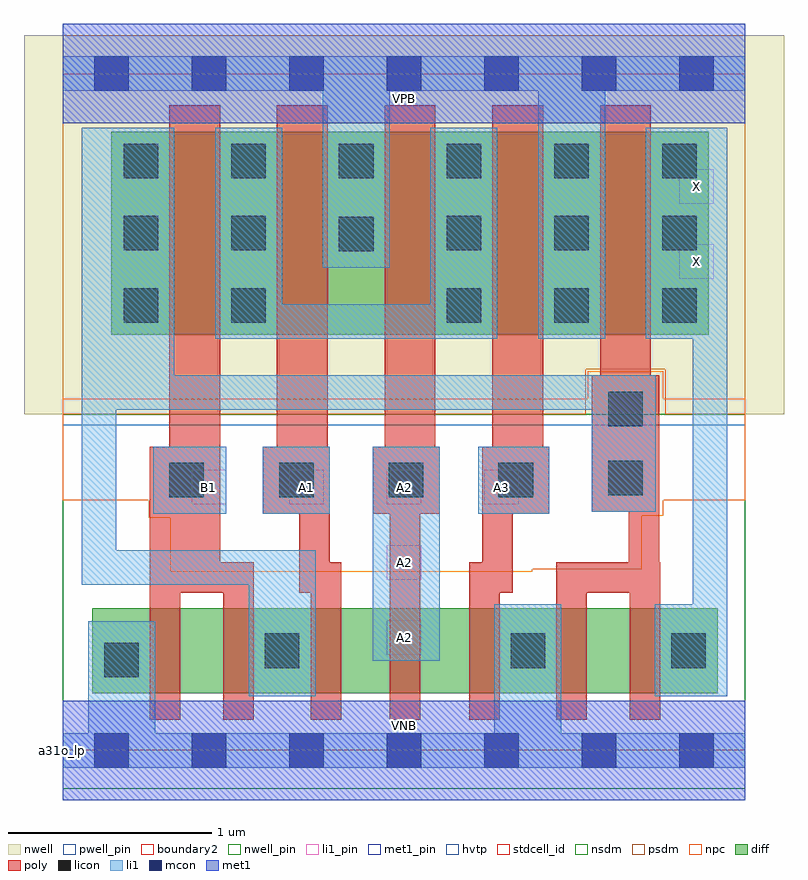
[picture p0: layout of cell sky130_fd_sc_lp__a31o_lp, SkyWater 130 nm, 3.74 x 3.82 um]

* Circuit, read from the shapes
.subckt sky130_fd_sc_lp__a31o_lp A1 A2 A3 B1 VGND VNB VPB VPWR X
XM1 n1 B1 VGND VNB sky130_fd_pr__nfet_01v8 w=0.42 l=0.15
XM2 n2 B1 n1 VNB sky130_fd_pr__nfet_01v8 w=0.42 l=0.15
XM3 n3 A1 n2 VNB sky130_fd_pr__nfet_01v8 w=0.42 l=0.15
XM4 n4 A2 n3 VNB sky130_fd_pr__nfet_01v8 w=0.42 l=0.15
XM5 VGND A3 n4 VNB sky130_fd_pr__nfet_01v8 w=0.42 l=0.15
XM6 n5 n2 VGND VNB sky130_fd_pr__nfet_01v8 w=0.42 l=0.15
XM7 X n2 n5 VNB sky130_fd_pr__nfet_01v8 w=0.42 l=0.15
XM8 n6 B1 n2 VPB sky130_fd_pr__pfet_01v8_hvt w=1 l=0.25
XM9 VPWR A1 n6 VPB sky130_fd_pr__pfet_01v8_hvt w=1 l=0.25
XM10 n6 A2 VPWR VPB sky130_fd_pr__pfet_01v8_hvt w=1 l=0.25
XM11 VPWR A3 n6 VPB sky130_fd_pr__pfet_01v8_hvt w=1 l=0.25
XM12 X n2 VPWR VPB sky130_fd_pr__pfet_01v8_hvt w=1 l=0.25
.ends

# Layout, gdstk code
import gdstk
lib = gdstk.Library(unit=1e-6, precision=1e-09)
def R(c, l, rs):  # rectangles x0, y0, x1, y1
    for r in rs: c.add(gdstk.rectangle(r[:2], r[2:], *l))
def A(c, l, x, y, w, h, nx, ny, dx, dy):  # array of equal rectangles
    R(c, l, [(x+i*dx, y+j*dy, x+i*dx+w, y+j*dy+h) for i in range(nx) for j in range(ny)])
def P(c, l, *ps):  # polygons
    for p in ps: c.add(gdstk.Polygon(p, *l))
nwell_pin = (64, 16)
nwell = (64, 20)
diff = (65, 20)
poly = (66, 20)
licon = (66, 44)
li1_pin = (67, 16)
li1 = (67, 20)
mcon = (67, 44)
met1_pin = (68, 16)
met1 = (68, 20)
hvtp = (78, 44)
stdcell_id = (81, 4)
nsdm = (93, 44)
psdm = (94, 20)
npc = (95, 20)
pwell_pin = (122, 16)
boundary2 = (236, 0)

sky130_fd_sc_lp__a31o_lp = lib.new_cell('sky130_fd_sc_lp__a31o_lp')
R(sky130_fd_sc_lp__a31o_lp, nwell_pin, [(0,3.085,3.36,3.33)])
R(sky130_fd_sc_lp__a31o_lp, nwell, [(-0.19,1.655,3.55,3.52)])
R(sky130_fd_sc_lp__a31o_lp, diff, [(0.145,0.28,3.225,0.7), (0.24,2.045,3.18,3.045)])
P(sky130_fd_sc_lp__a31o_lp, poly, [(0.94,0.925),(0.775,0.925),(0.775,3.175),(0.525,3.175),(0.525,1.495),(0.43,1.495),(0.43,0.15),(0.58,0.15),(0.58,0.775),(0.79,0.775),(0.79,0.15),(0.94,0.15)],
  [(1.37,0.925),(1.315,0.925),(1.315,1.495),(1.305,1.495),(1.305,3.175),(1.055,3.175),(1.055,1.495),(0.985,1.495),(0.985,1.165),(1.165,1.165),(1.165,0.775),(1.22,0.775),(1.22,0.15),(1.37,0.15)],
  [(1.855,1.495),(1.835,1.495),(1.835,3.175),(1.585,3.175),(1.585,1.495),(1.525,1.495),(1.525,1.165),(1.61,1.165),(1.61,0.15),(1.76,0.15),(1.76,1.165),(1.855,1.165)],
  [(2.395,1.495),(2.365,1.495),(2.365,3.175),(2.115,3.175),(2.115,1.495),(2.065,1.495),(2.065,0.925),(2,0.925),(2,0.15),(2.15,0.15),(2.15,0.775),(2.215,0.775),(2.215,1.165),(2.395,1.165)],
  [(2.94,0.925),(2.935,0.925),(2.935,1.845),(2.895,1.845),(2.895,3.175),(2.645,3.175),(2.645,1.845),(2.605,1.845),(2.605,1.175),(2.785,1.175),(2.785,0.925),(2.43,0.925),(2.43,0.15),(2.58,0.15),(2.58,0.775),(2.79,0.775),(2.79,0.15),(2.94,0.15)])
A(sky130_fd_sc_lp__a31o_lp, licon, 0.525, 1.245, 0.17, 0.17, 4, 1, 0.54, 0)
A(sky130_fd_sc_lp__a31o_lp, licon, 1.89, 2.105, 0.17, 0.17, 3, 2, 0.53, 0.355)
A(sky130_fd_sc_lp__a31o_lp, licon, 0.3, 2.815, 0.17, 0.17, 6, 1, 0.53, 0)
R(sky130_fd_sc_lp__a31o_lp, licon, [(0.205,0.36,0.375,0.53), (0.995,0.405,1.165,0.575), (2.205,0.405,2.375,0.575), (2.995,0.405,3.165,0.575), (2.685,1.255,2.855,1.425), (2.685,1.595,2.855,1.765), (0.3,2.105,0.47,2.275), (0.83,2.105,1,2.275), (1.36,2.455,1.53,2.625), (0.3,2.46,0.47,2.63), (0.83,2.46,1,2.63)])
A(sky130_fd_sc_lp__a31o_lp, li1_pin, 0.635, 1.21, 0.17, 0.17, 4, 1, 0.48, 0)
R(sky130_fd_sc_lp__a31o_lp, li1_pin, [(1.595,0.47,1.765,0.64), (1.595,0.84,1.765,1.01), (3.035,2.32,3.205,2.49), (3.035,2.69,3.205,2.86)])
R(sky130_fd_sc_lp__a31o_lp, li1, [(1.525,0.44,1.855,1.495), (0.445,1.165,0.805,1.495), (0.985,1.165,1.315,1.495), (2.045,1.165,2.395,1.495)])
P(sky130_fd_sc_lp__a31o_lp, li1, [(2.34,2.025),(2.34,3.245),(1.61,3.245),(1.61,2.375),(1.28,2.375),(1.28,3.245),(0,3.245),(0,3.415),(3.36,3.415),(3.36,3.245),(2.67,3.245),(2.67,2.025)],
  [(0.125,0.085),(0.125,0.635),(0.455,0.635),(0.455,0.085),(2.125,0.085),(2.125,0.72),(2.455,0.72),(2.455,0.085),(3.36,0.085),(3.36,-0.085),(0,-0.085),(0,0.085)],
  [(0.095,0.815),(0.095,3.065),(0.55,3.065),(0.55,1.845),(2.92,1.845),(2.92,1.175),(2.605,1.175),(2.605,1.675),(0.265,1.675),(0.265,0.985),(1.245,0.985),(1.245,0.265),(0.915,0.265),(0.915,0.815)],
  [(1.81,2.195),(1.81,3.065),(2.14,3.065),(2.14,2.025),(0.75,2.025),(0.75,3.065),(1.08,3.065),(1.08,2.195)],
  [(3.1,0.72),(3.1,2.025),(2.87,2.025),(2.87,3.065),(3.27,3.065),(3.27,0.265),(2.915,0.265),(2.915,0.72)])
A(sky130_fd_sc_lp__a31o_lp, mcon, 0.155, -0.085, 0.17, 0.17, 7, 2, 0.48, 3.33)
R(sky130_fd_sc_lp__a31o_lp, met1_pin, [(0,0,3.36,0.245), (0,3.085,3.36,3.33)])
R(sky130_fd_sc_lp__a31o_lp, met1, [(0,-0.245,3.36,0.245), (0,3.085,3.36,3.575)])
R(sky130_fd_sc_lp__a31o_lp, hvtp, [(0,1.6,3.36,3.33)])
R(sky130_fd_sc_lp__a31o_lp, stdcell_id, [(0,0,3.36,3.33)])
R(sky130_fd_sc_lp__a31o_lp, nsdm, [(0,-0.19,3.36,1.655)])
P(sky130_fd_sc_lp__a31o_lp, psdm, [(3.36,3.52),(0,3.52),(0,1.655),(2.575,1.655),(2.575,1.875),(2.965,1.875),(2.965,1.655),(3.36,1.655)])
P(sky130_fd_sc_lp__a31o_lp, npc, [(3.36,1.73),(2.955,1.73),(2.955,1.865),(2.585,1.865),(2.585,1.73),(0,1.73),(0,1.23),(0.425,1.23),(0.425,1.145),(0.53,1.145),(0.53,0.88),(2.31,0.88),(2.31,0.89),(2.85,0.89),(2.85,1.155),(2.955,1.155),(2.955,1.23),(3.36,1.23)])
R(sky130_fd_sc_lp__a31o_lp, pwell_pin, [(0,0,3.36,0.245)])
R(sky130_fd_sc_lp__a31o_lp, boundary2, [(0,0,3.36,3.33)])
sky130_fd_sc_lp__a31o_lp.add(gdstk.Label('VNB', (1.68,0.123), layer=64, texttype=59))
sky130_fd_sc_lp__a31o_lp.add(gdstk.Label('VPB', (1.68,3.208), layer=64, texttype=5))
sky130_fd_sc_lp__a31o_lp.add(gdstk.Label('a31o_lp', (0,0), layer=83, texttype=44))
sky130_fd_sc_lp__a31o_lp.add(gdstk.Label('VPWR', (1.68,3.208), layer=68, texttype=5))
sky130_fd_sc_lp__a31o_lp.add(gdstk.Label('VGND', (1.68,0.123), layer=68, texttype=5))
sky130_fd_sc_lp__a31o_lp.add(gdstk.Label('A3', (2.16,1.295), layer=67, texttype=5))
sky130_fd_sc_lp__a31o_lp.add(gdstk.Label('A2', (1.68,0.555), layer=67, texttype=5))
sky130_fd_sc_lp__a31o_lp.add(gdstk.Label('A2', (1.68,0.925), layer=67, texttype=5))
sky130_fd_sc_lp__a31o_lp.add(gdstk.Label('A2', (1.68,1.295), layer=67, texttype=5))
sky130_fd_sc_lp__a31o_lp.add(gdstk.Label('A1', (1.2,1.295), layer=67, texttype=5))
sky130_fd_sc_lp__a31o_lp.add(gdstk.Label('X', (3.12,2.405), layer=67, texttype=5))
sky130_fd_sc_lp__a31o_lp.add(gdstk.Label('X', (3.12,2.775), layer=67, texttype=5))
sky130_fd_sc_lp__a31o_lp.add(gdstk.Label('B1', (0.72,1.295), layer=67, texttype=5))

lib.write_gds('sky130_fd_sc_lp__a31o_lp.gds')
